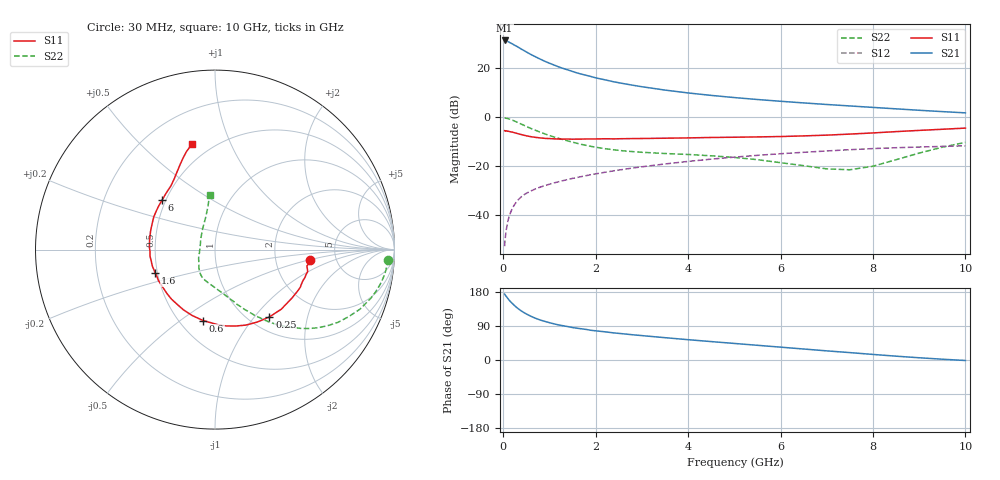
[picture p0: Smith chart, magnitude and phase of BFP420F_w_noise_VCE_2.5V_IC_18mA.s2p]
! Infineon Technologies  Discrete & RF Semiconductors
! BFP420F
! VCE =  2.5 V,  IC =  18 mA
! Common Emitter S-Parameters:  Sep 2011
# GHz  S  MA  R  50
!  f  S11  S21  S12  S22
! GHz  MAG  ANG  MAG  ANG  MAG  ANG  MAG  ANG
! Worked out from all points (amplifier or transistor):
!   54 points, 30 MHz to 10 GHz, reference 50 ohm
!   highest |S21| = 31.5 dB at 30 MHz (marker M1)
!   |S21| within 3 dB of that: start of sweep to 345.3 MHz
!   unconditionally stable (mu >= 1): 1.717 GHz to end of sweep
!   at 120 MHz: K = 0.23, MSG = 36.0 dB, |S12| = -41.2 dB
!   at 1.3 GHz: K = 0.88, MSG = 23.0 dB, |S12| = -25.9 dB
!   at 10 GHz: K = 1.24, MAG = 3.8 dB, |S12| = -11.7 dB
!   lowest NFmin = 1.47 dB at 900 MHz
!   S11 on the Smith chart (normalised r, x): 30 MHz: 3.18, -0.53; 250 MHz: 1.23, -1.20; 600 MHz: 0.65, -0.61; 1.6 GHz: 0.49, -0.15; 6 GHz: 0.48, +0.32; 10 GHz: 0.39, +0.73
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0.03  0.5325 -6.5  37.48 173.9  0.0023 88.1  0.9632 -3.3
0.07  0.5254 -15.6  36.63 167.2  0.0052 84.1  0.9547 -8.4
0.12  0.5161 -26.0  34.94 159.1  0.0087 81.1  0.9287 -14.1
0.15  0.5072 -31.9  33.67 154.9  0.0107 78.4  0.9092 -17.4
0.2  0.4967 -41.9  31.76 148.8  0.0139 75.6  0.8737 -22.3
0.25  0.4823 -51.0  29.81 142.9  0.0166 72.7  0.8336 -26.6
0.3  0.4675 -59.7  28.15 137.7  0.0193 70.2  0.7961 -30.6
0.4  0.4409 -75.0  24.7 128.8  0.0239 66.7  0.72 -37.2
0.5  0.4186 -87.9  21.81 121.5  0.0278 64.1  0.6516 -42.4
0.6  0.4008 -99.5  19.32 115.3  0.0311 62.4  0.5909 -46.8
0.8  0.3789 -117.6  15.55 105.5  0.0372 60.6  0.4968 -53.7
1  0.3673 -131.4  12.83 98.5  0.0427 60.1  0.425 -59.1
1.2  0.3593 -142.5  10.78 92.5  0.048 59.7  0.3705 -63.8
1.6  0.3576 -158.5  8.091 83.8  0.0587 59.3  0.2935 -72.2
1.7  0.3581 -161.6  7.635 82.2  0.0614 59.3  0.2783 -74.2
2.4  0.3622 -178.3  5.317 71.4  0.0805 58.0  0.216 -88.7
3.5  0.3735 164.1  3.612 58.9  0.1109 54.2  0.1816 -106.5
5.5  0.397 142.1  2.316 38.8  0.1665 43.4  0.1358 -131.4
6  0.4042 136.6  2.131 33.9  0.1797 40.3  0.1178 -139.8
7  0.4316 124.7  1.831 24.1  0.2047 33.9  0.088 -169.7
8.5  0.5097 112.6  1.491 10.1  0.2385 23.4  0.1354 120.6
10  0.6014 102.3  1.234 -1.3  0.2611 14.2  0.3075 95.6
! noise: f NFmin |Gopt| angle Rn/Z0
0.45  1.49  0.14  179  0.11
0.9  1.47  0.15  176  0.13
1.9  1.6  0.24  -172  0.18
2.4  1.67  0.25  -168  0.12
3.5  1.9  0.27  -159  0.16
